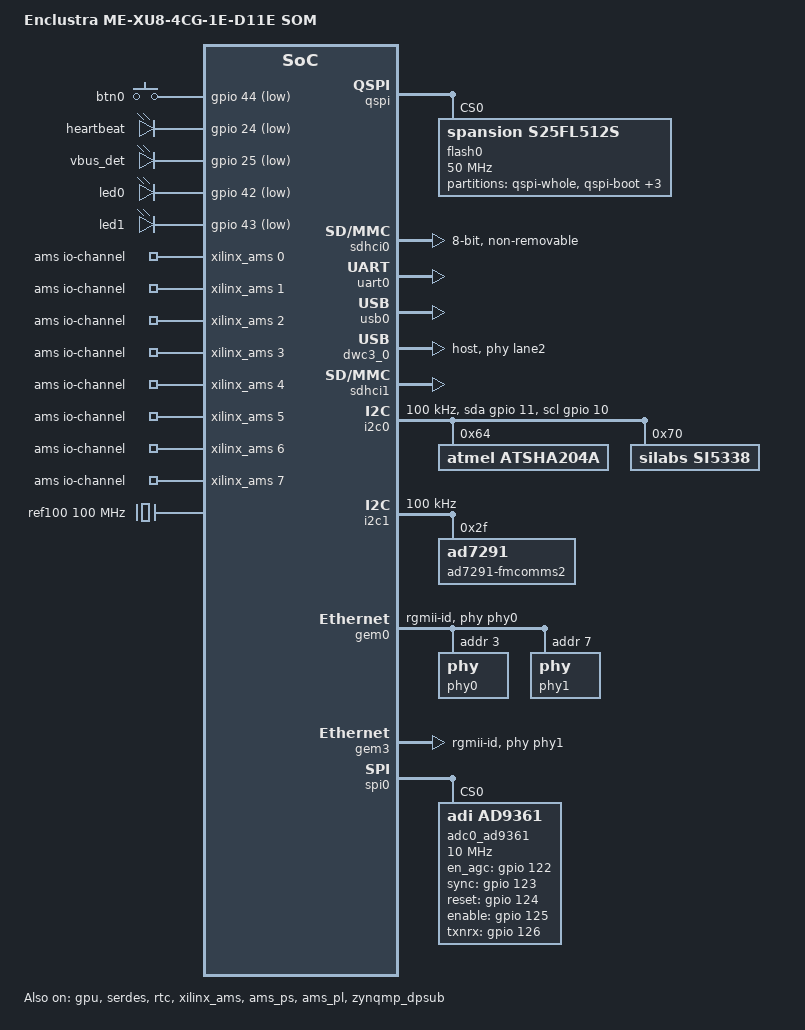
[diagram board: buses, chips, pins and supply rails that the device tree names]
#include "system-conf.dtsi"
/ {
	model = "Enclustra ME-XU8-4CG-1E-D11E SOM";
};

#include <dt-bindings/gpio/gpio.h>
#include <dt-bindings/clock/clk-si5338.h>
#include <dt-bindings/phy/phy.h>

/ {
  /delete-node/ chosen;
  chosen {
    bootargs = " earlycon console=ttyPS0,115200 clk_ignore_unused cma=1424M root=/dev/mmcblk1p2 rw rootwait";
    /*bootargs = "clk_ignore_unused maxcpus=1 nokaslr pti=off cma=1424M root=/dev/mmcblk1p2 rw rootwait"; // LX kernel debug boot*/
    /*bootargs = " earlycon console=ttyPS0,115200 clk_ignore_unused cma=1424M"; // ramdisk boot */
    stdout-path = "serial0:115200n8";
  };
  
  /delete-node/ aliases;
  aliases {
    ethernet0 = &gem0;
    ethernet1 = &gem3;
    i2c0 = &i2c0;
    i2c1 = &i2c1;
    serial0 = &uart0;
    spi0 = &spi0;
    spi1 = &qspi;
  };

  gpio-keys {
    compatible = "gpio-keys";
    autorepeat;
    
    //PS_BTN0# ST1_BTN0
    btn0 {
      label = "btn0";
      gpios = <&gpio 44 GPIO_ACTIVE_LOW>;
    };
  };
  
  gpio-leds {
    compatible = "gpio-leds";
    
    //PS_LED0# Mercury_XU8
    d200 {
      label = "heartbeat";
      gpios = <&gpio 24 GPIO_ACTIVE_LOW>;
      default-state = "off";
      linux,default-trigger = "heartbeat";
    };
    //PS_LED1# Mercury_XU8
    d201 {
      label = "vbus_det";
      gpios = <&gpio 25 GPIO_ACTIVE_LOW>;
      default-state = "off";
    };
    //PS_MIO42_PERST# ST1 LED0: GPIO0_LED0# or PCIe reset
    d1604 {
      label = "led0";
      gpios = <&gpio 42 GPIO_ACTIVE_LOW>;
      default-state = "off";
      linux,default-trigger = "netdev";
    };
    //PS_MIO43        ST1 LED1: GPIO1_LED1#
    d1605 {
      label = "led1";
      gpios = <&gpio 43 GPIO_ACTIVE_LOW>;
      default-state = "off";
      linux,default-trigger = "netdev";
    };
  };
  
  ams {
    compatible = "iio-hwmon";
    io-channels = <&xilinx_ams  0>, <&xilinx_ams  1>, <&xilinx_ams  2>,
                  <&xilinx_ams  3>, <&xilinx_ams  4>, <&xilinx_ams  5>,
                  <&xilinx_ams  6>, <&xilinx_ams  7>, <&xilinx_ams  8>,
                  <&xilinx_ams  9>, <&xilinx_ams 10>, <&xilinx_ams 11>,
                  <&xilinx_ams 12>, <&xilinx_ams 13>, <&xilinx_ams 14>,
                  <&xilinx_ams 15>, <&xilinx_ams 16>, <&xilinx_ams 17>,
                  <&xilinx_ams 18>, <&xilinx_ams 19>, <&xilinx_ams 20>,
                  <&xilinx_ams 21>, <&xilinx_ams 22>, <&xilinx_ams 23>,
                  <&xilinx_ams 24>, <&xilinx_ams 25>, <&xilinx_ams 26>,
                  <&xilinx_ams 27>, <&xilinx_ams 28>, <&xilinx_ams 29>;
  };

};

&gpu {
  status = "okay";
};

&serdes {
  status = "okay";
};

&rtc {
  status = "okay";
};

&fpd_dma_chan1 {
  status = "okay";
};

&fpd_dma_chan2 {
  status = "okay";
};

&fpd_dma_chan3 {
  status = "okay";
};

&fpd_dma_chan4 {
  status = "okay";
};

&fpd_dma_chan5 {
  status = "okay";
};

&fpd_dma_chan6 {
  status = "okay";
};

&fpd_dma_chan7 {
  status = "okay";
};

&fpd_dma_chan8 {
  status = "okay";
};

&gpio {
  status = "okay";
};

&qspi {
  status = "okay";
  #address-cells = <1>;
  #size-cells = <0>;
  is-dual = <0>;
  num-cs = <1>;

  /delete-node/ flash0;
  flash0: flash@0 {
    reg = <0x0>;
    compatible = "spansion,s25fl512s", "jedec,spi-nor";
    spi-rx-bus-width = <0x4>;
    spi-tx-bus-width = <0x4>;
    spi-max-frequency = <50000000>;
    #address-cells = <1>;
    #size-cells = <1>;

    partition@0 {
      label = "qspi-whole";
      reg = <0x00000000 0x04000000>;
    };
    partition@1 {
      label = "qspi-boot";
      reg = <0x0 0x00C00000>;        /* 12M */
    };
    partition@2 {
      label = "qspi-bootenv";
      reg = <0x00C00000 0x00100000>; /*  1M */
    };
    partition@3 {
      label = "qspi-linux";
      reg = <0x00D00000 0x02B00000>; /* 45M */
    };
    partition@4 {
      label = "qspi-flashfs";
      reg = <0x03800000 0x00800000>; /* 8M */
    };

  };
};

&sdhci0 {
  status = "okay";
  non-removable;
  disable-wp;
  xlnx,mio_bank = <0>;
  bus-width = <8>;
};

&uart0 {
  status = "okay";
};

&xilinx_ams {
  status = "okay";
};

&ams_ps {
  status = "okay";
};

&ams_pl {
  status = "okay";
};

&usb0 {
  status = "okay";
};

&usb1 {
  status = "disabled";
};

&dwc3_0 {
  status = "okay";
  dr_mode = "host";
  snps,usb3_lpm_capable;
  phy-names = "usb3-phy";
  phys = <&lane2 PHY_TYPE_USB3 0 2 100000000>;
  maximum-speed = "super-speed";
};

&dwc3_1 {
  status = "disabled";
  dr_mode = "host";
  snps,usb3_lpm_capable;
  phy-names = "usb3-phy";
  phys = <&lane3 PHY_TYPE_USB3 1 2 100000000>;
  maximum-speed = "super-speed";
};

/* SD1 with level shifter */
&sdhci1 {
  status = "okay";
  no-1-8-v; /* for 1.0 silicon */
  wp-inverted;
  xlnx,mio_bank = <1>;
};

&amba {
  ref100: ref100M {
    compatible = "fixed-clock";
    #clock-cells = <0>;
    clock-frequency = <100000000>;
  };
};

&i2c0 {
  status = "okay";
  clock-frequency = <100000>;
  scl-gpios = <&gpio 10 GPIO_ACTIVE_HIGH>;
  sda-gpios = <&gpio 11 GPIO_ACTIVE_HIGH>;

  atsha204a@64 {
    compatible = "atmel,atsha204a", "atmel,atsha204-i2c";
    reg = <0x64>;
    status = "okay";
  };

  si5338@70 {
    compatible = "silabs,si5338";
    reg = <0x70>;
    #address-cells = <1>;
    #size-cells = <0>;
    #clock-cells = <1>;
    status = "okay";

    clocks = <0>, <0>, <&ref100>, <0>, <0>;
    clock-names = "xtal", "in12", "in3", "in4", "in56";

    silab,ref-source = <SI5338_REF_SRC_CLKIN3>;
    silab,fb-source = <SI5338_FB_SRC_NOCLK>;
    silab,pll-source = <SI5338_PFD_IN_REF_REFCLK>;

    /* output */
    clkout0 {
      reg = <0>;
      silabs,drive-config = "3V3_LVDS";
      silabs,clock-source = <SI5338_OUT_MUX_MSN>;
      silabs,disable-state = <SI5338_OUT_DIS_HIZ>;
      clock-frequency = <125000000>;
      enabled = "okay";
    };
    clkout1 {
      reg = <1>;
      silabs,drive-config = "3V3_LVDS";
      silabs,clock-source = <SI5338_OUT_MUX_MSN>;
      silabs,disable-state = <SI5338_OUT_DIS_HIZ>;
      clock-frequency = <156250000>;
      enabled = "okay";
    };
    clkout2 {
      reg = <2>;
      silabs,drive-config = "3V3_LVDS";
      silabs,clock-source = <SI5338_OUT_MUX_MSN>;
      silabs,disable-state = <SI5338_OUT_DIS_HIZ>;
      clock-frequency = <156250000>;
      enabled = "okay";
    };
    clkout3 {
      reg = <3>;
      silabs,drive-config = "3V3_LVDS";
      silabs,clock-source = <SI5338_OUT_MUX_MSN>;
      silabs,disable-state = <SI5338_OUT_DIS_HIZ>;
      clock-frequency = <156250000>;
      enabled = "okay";
    };
  };
};

&i2c1 {
  status = "okay";
  clock-frequency = <100000>;

  ad7291-fmcomms2@2f {
    compatible = "ad7291";
    reg = <0x2f>;
  };

};

&xlnx_dpdma {
  status = "okay";
};

&zynqmp_dpsub {
  status = "okay";
  phy-names = "dp-phy0", "dp-phy1";
  phys = <&lane1 PHY_TYPE_DP 0x0 0x3 27000000>, <&lane0 PHY_TYPE_DP 0x1 0x3 27000000>;
  dma-names = "vid0", "vid1", "vid2", "gfx0";
  dmas = <&xlnx_dpdma 0>, <&xlnx_dpdma 1>, <&xlnx_dpdma 2>, <&xlnx_dpdma 3>;
};

&zynqmp_dp_snd_pcm0 {
    status = "disabled";
};

&zynqmp_dp_snd_pcm1 {
    status = "disabled";
};

&zynqmp_dp_snd_card0 {
    status = "disabled";
};

&zynqmp_dp_snd_codec0 {
    status = "disabled";
};

&gem0 {
  status = "okay";
  /delete-property/ local-mac-address;
  phy-mode = "rgmii-id";
  phy-handle = <&phy0>;
  phy0: phy@3 {
    reg = <3>;

    txc-skew-ps = <1800>;
    txen-skew-ps = <420>;

    txd0-skew-ps = <420>;
    txd1-skew-ps = <420>;
    txd2-skew-ps = <420>;
    txd3-skew-ps = <420>;

    rxc-skew-ps = <900>;
    rxdv-skew-ps = <420>;

    rxd0-skew-ps = <420>;
    rxd1-skew-ps = <420>;
    rxd2-skew-ps = <420>;
    rxd3-skew-ps = <420>;   
  };
  phy1: phy@7 {
    reg = <7>;

    txc-skew-ps = <1800>;
    txen-skew-ps = <420>;

    txd0-skew-ps = <420>;
    txd1-skew-ps = <420>;
    txd2-skew-ps = <420>;
    txd3-skew-ps = <420>;

    rxc-skew-ps = <900>;
    rxdv-skew-ps = <420>;

    rxd0-skew-ps = <420>;
    rxd1-skew-ps = <420>;
    rxd2-skew-ps = <420>;
    rxd3-skew-ps = <420>;   
  };
};

&gem3 {
  status = "okay";
  /delete-property/ local-mac-address;
  phy-handle = <&phy1>;
  phy-mode = "rgmii-id";
};

/ {

  clocks {
    ad9361_clkin: clock0 {
      #clock-cells = <0>;
      compatible = "adjustable-clock";
      clock-frequency = <39999906>;
      clock-accuracy = <200000>; /* 200 ppm (ppb) */
      clock-output-names = "ad9361_ext_refclk";
    };
  };

};

&axi_ad9361_adc_dma {
  reg = <0x0 0x9c400000 0x0 0x10000>;
  compatible = "adi,axi-dmac-1.00.a";
  #dma-cells = <1>;

  adi,channels {
    #size-cells = <0>;
    #address-cells = <1>;

    dma-channel@0 {
      reg = <0>;
      adi,source-bus-width = <64>;
      adi,source-bus-type = <2>;
      adi,destination-bus-width = <64>;
      adi,destination-bus-type = <0>;
    };
  };
};

&axi_ad9361_dac_dma {
  reg = <0x0 0x9c420000 0x0 0x10000>;
  compatible = "adi,axi-dmac-1.00.a";
  #dma-cells = <1>;

  adi,channels {
    #size-cells = <0>;
    #address-cells = <1>;

    dma-channel@0 {
      reg = <0>;
      adi,source-bus-width = <64>;
      adi,source-bus-type = <0>;
      adi,destination-bus-width = <64>;
      adi,destination-bus-type = <2>;
    };
  };
};

&amba_pl {

  cf-ad9361-lpc@99020000 {
    compatible = "adi,axi-ad9361-6.00.a";
    reg = <0x0 0x99020000 0x0 0x6000>;
    dmas = <&axi_ad9361_adc_dma 0>;
    dma-names = "rx";
    spibus-connected = <&adc0_ad9361>;
  };

  cf-ad9361-dds-core-lpc@99024000 {
    compatible = "adi,axi-ad9361-dds-6.00.a";
    reg = <0x0 0x99024000 0x0 0x1000>;
    clocks = <&adc0_ad9361 13>;
    clock-names = "sampl_clk";
    dmas = <&axi_ad9361_dac_dma 0>;
    dma-names = "tx";
  };

};

&spi0 {
  status = "okay";

  adc0_ad9361: ad9361-phy@0 {
    #address-cells = <1>;
    #size-cells = <0>;
    #clock-cells = <1>;
    compatible = "adi,ad9361";

    /* SPI Setup */
    reg = <0>;
    spi-cpha;
    spi-max-frequency = <10000000>;

    /* Clocks */
    clocks = <&ad9361_clkin 0>;
    clock-names = "ad9361_ext_refclk", "ext_tx_lo", "ext_rx_lo";
    clock-output-names = "rx_sampl_clk", "tx_sampl_clk";

    /* Digital Interface Control */

    /* adi,digital-interface-tune-skip-mode:
      * 0 = TUNE RX&TX
      * 1 = SKIP TX
      * 2 = SKIP ALL
      */
    adi,digital-interface-tune-skip-mode = <0>;

    adi,pp-tx-swap-enable;
    adi,pp-rx-swap-enable;
    adi,rx-frame-pulse-mode-enable;
    adi,lvds-mode-enable;
    adi,lvds-bias-mV = <150>;
    adi,lvds-rx-onchip-termination-enable;
    adi,rx-data-delay = <4>;
    adi,tx-fb-clock-delay = <7>;

    adi,dcxo-coarse-and-fine-tune = <8 5920>;
    adi,2rx-2tx-mode-enable;
//    adi,xo-disable-use-ext-refclk-enable;


//adi,full-port-enable;
//adi,digital-interface-tune-fir-disable;

//adi,tx-fb-clock-delay = <0>;
//adi,tx-data-delay = <9>;
//adi,swap-ports-enable;

    /* Mode Setup */

    //adi,split-gain-table-mode-enable;

    /* ENSM Mode */
    adi,frequency-division-duplex-mode-enable;
    //adi,ensm-enable-pin-pulse-mode-enable;
    //adi,ensm-enable-txnrx-control-enable;

    /* adi,rx-rf-port-input-select:
     * 0 = (RX1A_N &  RX1A_P) and (RX2A_N & RX2A_P) enabled; balanced
     * 1 = (RX1B_N &  RX1B_P) and (RX2B_N & RX2B_P) enabled; balanced
     * 2 = (RX1C_N &  RX1C_P) and (RX2C_N & RX2C_P) enabled; balanced
     *
     * 3 = RX1A_N and RX2A_N enabled; unbalanced
     * 4 = RX1A_P and RX2A_P enabled; unbalanced
     * 5 = RX1B_N and RX2B_N enabled; unbalanced
     * 6 = RX1B_P and RX2B_P enabled; unbalanced
     * 7 = RX1C_N and RX2C_N enabled; unbalanced
     * 8 = RX1C_P and RX2C_P enabled; unbalanced
     */

    adi,rx-rf-port-input-select = <0>; /* (RX1A_N &  RX1A_P) and (RX2A_N & RX2A_P) enabled; balanced */
//adi,rx-rf-port-input-select-lock-enable;

    /* adi,tx-rf-port-input-select:
     * 0  TX1A, TX2A
     * 1  TX1B, TX2B
     */

    adi,tx-rf-port-input-select = <0>; /* TX1A, TX2A */
    //adi,update-tx-gain-in-alert-enable;
    adi,tx-attenuation-mdB = <10000>;
    adi,tx-lo-powerdown-managed-enable;
//adi,tx-rf-port-input-select-lock-enable;

    adi,rf-rx-bandwidth-hz = <18000000>;
    adi,rf-tx-bandwidth-hz = <18000000>;
    adi,rx-synthesizer-frequency-hz = /bits/ 64 <2400000000>;
    adi,tx-synthesizer-frequency-hz = /bits/ 64 <2450000000>;

    /*        BBPLL     ADC        R2CLK     R1CLK    CLKRF    RSAMPL  */
    adi,rx-path-clock-frequencies = <983040000 245760000 122880000 61440000 30720000 30720000>;
    /*        BBPLL     DAC        T2CLK     T1CLK    CLKTF    TSAMPL  */
    adi,tx-path-clock-frequencies = <983040000 122880000 122880000 61440000 30720000 30720000>;

    /* Gain Control */

    /* adi,gc-rx[1|2]-mode:
     * 0 = RF_GAIN_MGC
     * 1 = RF_GAIN_FASTATTACK_AGC
     * 2 = RF_GAIN_SLOWATTACK_AGC
     * 3 = RF_GAIN_HYBRID_AGC
     */

    adi,gc-rx1-mode = <2>;
    adi,gc-rx2-mode = <2>;
    adi,gc-adc-ovr-sample-size = <4>; /* sum 4 samples */
    adi,gc-adc-small-overload-thresh = <47>; /* sum of squares */
    adi,gc-adc-large-overload-thresh = <58>; /* sum of squares */
    adi,gc-lmt-overload-high-thresh = <800>; /* mV */
    adi,gc-lmt-overload-low-thresh = <704>; /* mV */
    adi,gc-dec-pow-measurement-duration = <8192>; /* 0..524288 Samples */
    adi,gc-low-power-thresh = <24>; /* 0..-64 dBFS vals are set pos */
    //adi,gc-dig-gain-enable;
    //adi,gc-max-dig-gain = <15>;

    /* Manual Gain Control Setup */

    //adi,mgc-rx1-ctrl-inp-enable; /* uncomment to use ctrl inputs */
    //adi,mgc-rx2-ctrl-inp-enable; /* uncomment to use ctrl inputs */
    adi,mgc-inc-gain-step = <2>;
    adi,mgc-dec-gain-step = <2>;

    /* adi,mgc-split-table-ctrl-inp-gain-mode:
     * (relevant if adi,split-gain-table-mode-enable is set)
     * 0 = AGC determine this
     * 1 = only in LPF
     * 2 = only in LMT
     */

    adi,mgc-split-table-ctrl-inp-gain-mode = <0>;

    /* Automatic Gain Control Setup */

    adi,agc-attack-delay-extra-margin-us= <1>; /* us */
    adi,agc-outer-thresh-high = <5>; /* -dBFS */
    adi,agc-outer-thresh-high-dec-steps = <2>; /* 0..15 */
    adi,agc-inner-thresh-high = <10>; /* -dBFS */
    adi,agc-inner-thresh-high-dec-steps = <1>; /* 0..7 */
    adi,agc-inner-thresh-low = <12>; /* -dBFS */
    adi,agc-inner-thresh-low-inc-steps = <1>; /* 0..7 */
    adi,agc-outer-thresh-low = <18>; /* -dBFS */
    adi,agc-outer-thresh-low-inc-steps = <2>; /* 0..15 */

    adi,agc-adc-small-overload-exceed-counter = <10>; /* 0..15 */
    adi,agc-adc-large-overload-exceed-counter = <10>; /* 0..15 */
    adi,agc-adc-large-overload-inc-steps = <2>; /* 0..15 */
    //adi,agc-adc-lmt-small-overload-prevent-gain-inc-enable;
    adi,agc-lmt-overload-large-exceed-counter = <10>; /* 0..15 */
    adi,agc-lmt-overload-small-exceed-counter = <10>; /* 0..15 */
    adi,agc-lmt-overload-large-inc-steps = <2>; /* 0..7 */
    //adi,agc-dig-saturation-exceed-counter = <3>; /* 0..15 */
    //adi,agc-dig-gain-step-size = <4>; /* 1..8 */

    //adi,agc-sync-for-gain-counter-enable;
    adi,agc-gain-update-interval-us = <1000>;  /* 1ms */
    //adi,agc-immed-gain-change-if-large-adc-overload-enable;
    //adi,agc-immed-gain-change-if-large-lmt-overload-enable;

    /* Fast AGC */

    adi,fagc-dec-pow-measurement-duration = <64>; /* 64 Samples */
    //adi,fagc-allow-agc-gain-increase-enable;
    adi,fagc-lp-thresh-increment-steps = <1>;
    adi,fagc-lp-thresh-increment-time = <5>;

    adi,fagc-energy-lost-stronger-sig-gain-lock-exit-cnt = <8>;
    adi,fagc-final-overrange-count = <3>;
    //adi,fagc-gain-increase-after-gain-lock-enable;
    adi,fagc-gain-index-type-after-exit-rx-mode = <0>;
    adi,fagc-lmt-final-settling-steps = <1>;
    adi,fagc-lock-level = <10>;
    adi,fagc-lock-level-gain-increase-upper-limit = <5>;
    adi,fagc-lock-level-lmt-gain-increase-enable;

    adi,fagc-lpf-final-settling-steps = <1>;
    adi,fagc-optimized-gain-offset = <5>;
    adi,fagc-power-measurement-duration-in-state5 = <64>;
    adi,fagc-rst-gla-engergy-lost-goto-optim-gain-enable;
    adi,fagc-rst-gla-engergy-lost-sig-thresh-below-ll = <10>;
    adi,fagc-rst-gla-engergy-lost-sig-thresh-exceeded-enable;
    adi,fagc-rst-gla-if-en-agc-pulled-high-mode = <0>;
    adi,fagc-rst-gla-large-adc-overload-enable;
    adi,fagc-rst-gla-large-lmt-overload-enable;
    adi,fagc-rst-gla-stronger-sig-thresh-above-ll = <10>;
    adi,fagc-rst-gla-stronger-sig-thresh-exceeded-enable;
    adi,fagc-state-wait-time-ns = <260>;
    adi,fagc-use-last-lock-level-for-set-gain-enable;

    /* RSSI */

    /* adi,rssi-restart-mode:
     * 0 = AGC_IN_FAST_ATTACK_MODE_LOCKS_THE_GAIN,
     * 1 = EN_AGC_PIN_IS_PULLED_HIGH,
     * 2 = ENTERS_RX_MODE,
     * 3 = GAIN_CHANGE_OCCURS,
     * 4 = SPI_WRITE_TO_REGISTER,
     * 5 = GAIN_CHANGE_OCCURS_OR_EN_AGC_PIN_PULLED_HIGH,
     */
    adi,rssi-restart-mode = <3>;
    //adi,rssi-unit-is-rx-samples-enable;
    adi,rssi-delay = <1>; /* 1us */
    adi,rssi-wait = <1>; /* 1us */
    adi,rssi-duration = <1000>; /* 1ms */

    /* Control Outputs */
    adi,ctrl-outs-index = <0>;
    adi,ctrl-outs-enable-mask = <0xFF>;

    /* AuxADC Temp Sense Control */

    adi,temp-sense-measurement-interval-ms = <1000>;
    adi,temp-sense-offset-signed = <0xCE>;
    adi,temp-sense-periodic-measurement-enable;

    /* AuxDAC Control */

    adi,aux-dac-manual-mode-enable;

    adi,aux-dac1-default-value-mV = <0>;
    //adi,aux-dac1-active-in-rx-enable;
    //adi,aux-dac1-active-in-tx-enable;
    //adi,aux-dac1-active-in-alert-enable;
    adi,aux-dac1-rx-delay-us = <0>;
    adi,aux-dac1-tx-delay-us = <0>;

    adi,aux-dac2-default-value-mV = <0>;
    //adi,aux-dac2-active-in-rx-enable;
    //adi,aux-dac2-active-in-tx-enable;
    //adi,aux-dac2-active-in-alert-enable;
    adi,aux-dac2-rx-delay-us = <0>;
    adi,aux-dac2-tx-delay-us = <0>;

    /* Control GPIOs */
    en_agc-gpios = <&gpio 122 0>; /* GPIO offset=78(MIO)+emio_gpio[44] */
    sync-gpios   = <&gpio 123 0>; /* GPIO offset=78(MIO)+emio_gpio[45] */
    reset-gpios  = <&gpio 124 0>; /* GPIO offset=78(MIO)+emio_gpio[46] */
    enable-gpios = <&gpio 125 0>; /* GPIO offset=78(MIO)+emio_gpio[47] */
    txnrx-gpios  = <&gpio 126 0>; /* GPIO offset=78(MIO)+emio_gpio[48] */

    /* Clock Output Setup */
    /* adi,clk-output-mode-select
     * CLKOUT CLKOUT Frequency
     * 0      Disabled
     * 1      XTALN (or DCXO) (buffered)
     * 2      ADC_CLK / 2
     * 3      ADC_CLK / 3
     * 4      ADC_CLK / 4
     * 5      ADC_CLK / 8
     * 6      ADC_CLK / 16
     * 7      ADC_CLK / 32
     * 8      ADC_CLK / 64
    */
//    adi,clk-output-mode-select = <2>;
  };
};

